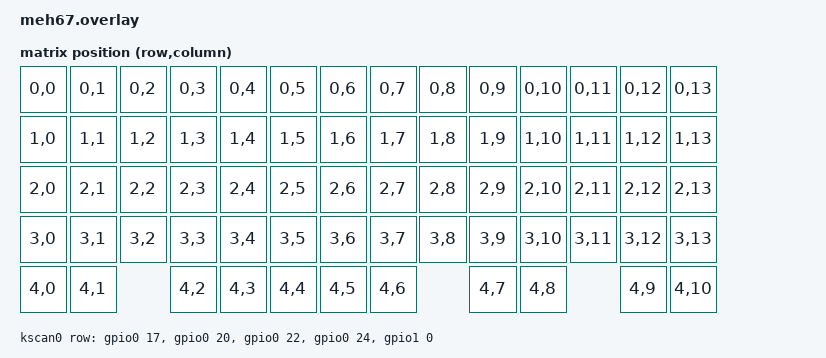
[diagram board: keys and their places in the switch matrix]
/*
 * Copyright (c) 2020 Pete Johanson
 *
 * SPDX-License-Identifier: MIT
 */

#include <dt-bindings/zmk/matrix_transform.h>

/ {
    chosen {
        zephyr,display = &oled;
        zmk,kscan = &kscan0;
        zmk,matrix_transform = &default_transform;
    };

    default_transform: keymap_transform_0 {
        compatible = "zmk,matrix-transform";
        columns = <14>;
        rows = <5>;
        map = <
    RC(0,0) RC(0,1) RC(0,2) RC(0,3) RC(0,4) RC(0,5)   RC(0,6)   RC(0,7) RC(0,8) RC(0,9) RC(0,10) RC(0,11) RC(0,12)   RC(0,13)
    RC(1,0) RC(1,1) RC(1,2) RC(1,3) RC(1,4) RC(1,5)   RC(1,6)   RC(1,7) RC(1,8) RC(1,9) RC(1,10) RC(1,11) RC(1,12)   RC(1,13)
    RC(2,0) RC(2,1) RC(2,2) RC(2,3) RC(2,4) RC(2,5)   RC(2,6)   RC(2,7) RC(2,8) RC(2,9) RC(2,10) RC(2,11) RC(2,12)   RC(2,13)
    RC(3,0) RC(3,1) RC(3,2) RC(3,3) RC(3,4) RC(3,5)   RC(3,6)   RC(3,7) RC(3,8) RC(3,9) RC(3,10) RC(3,11) RC(3,12)   RC(3,13)
    RC(4,0)     RC(4,1)      RC(4,2)   RC(4,3)  RC(4,4)   RC(4,5)  RC(4,6)    RC(4,7)    RC(4,8)      RC(4,9)       RC(4,10)
        >;
    };

    kscan0: kscan {
        compatible = "zmk,kscan-gpio-matrix";

        diode-direction = "col2row";
        col-gpios\
            = <&gpio0 11 GPIO_ACTIVE_HIGH>    // 0
            , <&gpio1 4 GPIO_ACTIVE_HIGH>     // 1
            , <&gpio1 6 GPIO_ACTIVE_HIGH>     // 2
            , <&gpio1 1 GPIO_ACTIVE_HIGH>     // 3
            , <&gpio1 2 GPIO_ACTIVE_HIGH>     // 4
            , <&gpio1 7 GPIO_ACTIVE_HIGH>     // 5
            , <&gpio0 9 GPIO_ACTIVE_HIGH>     // 6
            , <&gpio0 10 GPIO_ACTIVE_HIGH>    // 7
            , <&gpio1 11 GPIO_ACTIVE_HIGH>   // 8
            , <&gpio1 13 GPIO_ACTIVE_HIGH>    // 9
            , <&gpio1 15 GPIO_ACTIVE_HIGH>   // 10
            , <&gpio0 2 GPIO_ACTIVE_HIGH>   // 11
            , <&gpio0 29 GPIO_ACTIVE_HIGH>    // 12
            , <&gpio0 31 GPIO_ACTIVE_HIGH>      // 13
            ; // 031, dead
        row-gpios
            = <&gpio0 17 (GPIO_ACTIVE_HIGH | GPIO_PULL_DOWN)>
            , <&gpio0 20 (GPIO_ACTIVE_HIGH | GPIO_PULL_DOWN)>
            , <&gpio0 22 (GPIO_ACTIVE_HIGH | GPIO_PULL_DOWN)>
            , <&gpio0 24 (GPIO_ACTIVE_HIGH | GPIO_PULL_DOWN)>
            , <&gpio1 0 (GPIO_ACTIVE_HIGH | GPIO_PULL_DOWN)>
            ;
    };
};

&pinctrl {
    i2c0_default: i2c0_default {
        group1 {
            psels = <NRF_PSEL(TWIM_SDA, 0, 8)>,
                <NRF_PSEL(TWIM_SCL, 0, 6)>;
        };
    };

    i2c0_sleep: i2c0_sleep {
        group1 {
            psels = <NRF_PSEL(TWIM_SDA, 0, 17)>,
                <NRF_PSEL(TWIM_SCL, 0, 20)>;
            low-power-enable;
        };
    };
};

&i2c0 {
    status = "okay";
    pinctrl-0 = <&i2c0_default>;

    oled: ssd1306@3c {
        compatible = "solomon,ssd1306fb";
        reg = <0x3c>;
        label = "DISPLAY";
        width = <128>;
        height = <32>;
        segment-offset = <0>;
        page-offset = <0>;
        display-offset = <0>;
        multiplex-ratio = <31>;
        segment-remap;
        com-invdir;
        com-sequential;
        prechargep = <0x22>;
    };
};
